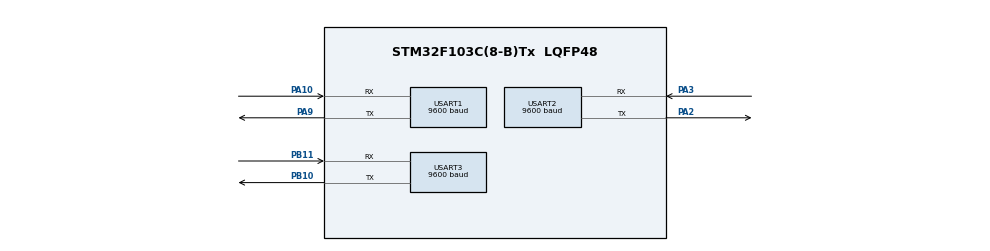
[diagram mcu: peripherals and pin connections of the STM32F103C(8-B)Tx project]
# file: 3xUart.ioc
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Mcu.Family=STM32F1
Mcu.Name=STM32F103C(8-B)Tx
Mcu.Package=LQFP48
NVIC.PriorityGroup=NVIC_PRIORITYGROUP_4
NVIC.USART1_IRQn=true\:0\:0\:false\:false\:true\:true
PA10.Mode=Asynchronous
PA10.Signal=USART1_RX
PA13.Mode=Serial_Wire
PA13.Signal=SYS_JTMS-SWDIO
PA14.Mode=Serial_Wire
PA14.Signal=SYS_JTCK-SWCLK
PA2.Mode=Asynchronous
PA2.Signal=USART2_TX
PA3.Mode=Asynchronous
PA3.Signal=USART2_RX
PA9.Mode=Asynchronous
PA9.Signal=USART1_TX
PB10.Mode=Asynchronous
PB10.Signal=USART3_TX
PB11.Mode=Asynchronous
PB11.Signal=USART3_RX
ProjectManager.HeapSize=0x200
ProjectManager.StackSize=0x400
ProjectManager.TargetToolchain=MDK-ARM V5
RCC.APB1Freq_Value=8000000
RCC.APB2Freq_Value=8000000
USART1.BaudRate=9600
USART1.VirtualMode=VM_ASYNC
USART2.BaudRate=9600
USART2.VirtualMode=VM_ASYNC
USART3.BaudRate=9600
USART3.VirtualMode=VM_ASYNC
board=3xUart

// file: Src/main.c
/**
  ******************************************************************************
  * File Name          : main.c
  * Description        : Main program body
  ******************************************************************************
  *
  * COPYRIGHT(c) 2017 STMicroelectronics
  *
  * Redistribution and use in source and binary forms, with or without modification,
  * are permitted provided that the following conditions are met:
  *   1. Redistributions of source code must retain the above copyright notice,
  *      this list of conditions and the following disclaimer.
  *   2. Redistributions in binary form must reproduce the above copyright notice,
  *      this list of conditions and the following disclaimer in the documentation
  *      and/or other materials provided with the distribution.
  *   3. Neither the name of STMicroelectronics nor the names of its contributors
  *      may be used to endorse or promote products derived from this software
  *      without specific prior written permission.
  *
  * THIS SOFTWARE IS PROVIDED BY THE COPYRIGHT HOLDERS AND CONTRIBUTORS "AS IS"
  * AND ANY EXPRESS OR IMPLIED WARRANTIES, INCLUDING, BUT NOT LIMITED TO, THE
  * IMPLIED WARRANTIES OF MERCHANTABILITY AND FITNESS FOR A PARTICULAR PURPOSE ARE
  * DISCLAIMED. IN NO EVENT SHALL THE COPYRIGHT HOLDER OR CONTRIBUTORS BE LIABLE
  * FOR ANY DIRECT, INDIRECT, INCIDENTAL, SPECIAL, EXEMPLARY, OR CONSEQUENTIAL
  * DAMAGES (INCLUDING, BUT NOT LIMITED TO, PROCUREMENT OF SUBSTITUTE GOODS OR
  * SERVICES; LOSS OF USE, DATA, OR PROFITS; OR BUSINESS INTERRUPTION) HOWEVER
  * CAUSED AND ON ANY THEORY OF LIABILITY, WHETHER IN CONTRACT, STRICT LIABILITY,
  * OR TORT (INCLUDING NEGLIGENCE OR OTHERWISE) ARISING IN ANY WAY OUT OF THE USE
  * OF THIS SOFTWARE, EVEN IF ADVISED OF THE POSSIBILITY OF SUCH DAMAGE.
  *
  ******************************************************************************
  */
#include "main.h"
#include "stm32f1xx_hal.h"
#include "cobs.h"

/* USER CODE BEGIN Includes */
 uint8_t buffer[10];
 uint8_t buffer2[5];
 uint8_t buffer3[5];
  static uint8_t tmp_mass[5];

 int dr_count, dr_count_saved, dr_count2, dr_count_saved2, dr_count3, dr_count_saved3;
 int check_uart, check_uart2, check_uart3;
 int j=0;
 volatile int saved_number;
 int uart_number;
 int multiplayer=1;
 int ch=1;
 float L_vel_left = 0,					// актуальная v левого колеса
			L_vel_right = 0,
			L_vel_left_des = 0,				// желаемая v левого колеса
			L_vel_right_des = 0,
			tmp,											// еще буфер
			W_vel = 0,
			x_pos = 0,
			y_pos = 0,
			angle_left = 0,
			angle_right = 0,
			path_of_left = 0, 				// одометр левого колеса
			path_of_right = 0,
			R_wheel = 0.05; // например

 uint8_t transmitBuffer[1];
 uint8_t recieved_word=0;
/* USER CODE END Includes */

UART_HandleTypeDef huart1;
UART_HandleTypeDef huart2;
UART_HandleTypeDef huart3;

/* USER CODE BEGIN PV */
/* Private variables ---------------------------------------------------------*/

/* USER CODE END PV */

void SystemClock_Config(void);
void Error_Handler(void);
static void MX_GPIO_Init(void);
static void MX_USART1_UART_Init(void);
static void MX_USART2_UART_Init(void);
static void MX_USART3_UART_Init(void);
//float ODOMETER(float);
//float PATH_TO_COORDINATES(int, float, float);

/* USER CODE BEGIN PFP */
/* Private function prototypes -----------------------------------------------*/
void send_to_uart(uint8_t data) {						// USART 1 к Rpi, USART 2 3 - драйвера, STM32F103 to rule them all

while(!(USART1->SR & USART_SR_TC));

USART1->DR=data; //UART

}
/* USER CODE END PFP */

/* USER CODE BEGIN 0 */

	uint8_t sp1 = 160;
    uint8_t sp1_2 = 115;
	uint8_t sp2 = 1;
	uint8_t u_buf1[1];
	uint8_t u_buf2[1];
 int test_num=0;
 int count=0;
/* USER CODE END 0 */

int main(void)
{

  /* USER CODE BEGIN 1 */
    u_buf1[0] = 0x30;
    u_buf2[0] = 0x30;
  /* USER CODE END 1 */

  /* MCU Configuration----------------------------------------------------------*/

  /* Reset of all peripherals, Initializes the Flash interface and the Systick. */
  HAL_Init();

  /* Configure the system clock */
  SystemClock_Config();

  /* Initialize all configured peripherals */
  MX_GPIO_Init();
  MX_USART1_UART_Init();
  MX_USART2_UART_Init();
  MX_USART3_UART_Init();

  /* USER CODE BEGIN 2 */
	__HAL_UART_ENABLE_IT(&huart1, UART_IT_RXNE);  // Включаю прерывания по приему данных в дата регистр
  __HAL_UART_ENABLE_IT(&huart2, UART_IT_RXNE);
  __HAL_UART_ENABLE_IT(&huart3, UART_IT_RXNE);

/*	for (unsigned char i = 0; i < 32; i++)
  {
    transmitBuffer[i] = i + 1;
  }*/

  /* USER CODE END 2 */

  /* Infinite loop */
  /* USER CODE BEGIN WHILE */
  while (1)
  {
		if (check_uart==1)  // проверяю флаг который меняется в stm32xx_it.c в USART1_IRQHandler (начиная с 195 строки)
		{
			for(j=0;j<dr_count_saved;j++) //dr_count переменная, значение которой я беру из stm32xx_it.c в USART1_IRQHandler
			{
				if (((buffer[j] != 0)&&(buffer[j] != 13)&&(buffer[j]>=48)&&(buffer[j]<=57))||(buffer[j]==65))
				{
					recieved_word=buffer[j]; // берем нужное нам значение
				}
/*				if ((buffer[j] != 0)&&(buffer[j] != 13))
        {
					uart_number=uart_number+multiplayer*(buffer[j]-48);  // если мы принимаем цифру
					multiplayer=multiplayer*10;
				*/

			}
			 multiplayer=1;
			 check_uart=0;
			// saved_number=uart_number;  // для цифры
			// uart_number=0;
			 USART1->DR=0;
			 for(j=0;j<9;j++) {buffer[j]=0;}

			 if (recieved_word!=0) // когда мы подключились к bluetooth модулю
			 {
				 transmitBuffer[0]=recieved_word;
				 switch (recieved_word)
				 {
				 case 0x31:
					u_buf1[0] = sp1;
					u_buf2[0] = ((uint8_t)((double)sp1)*0.91);
					break;
				 case 0x32:
					u_buf1[0] = 1;
					u_buf2[0] = 1;
					break;
				 case 0x34:
					u_buf1[0] = sp1*0.85;
					u_buf2[0] = ((uint8_t)((double)sp1)*0.91);
					break;
				 case 0x33:
					u_buf1[0] = sp1;
					u_buf2[0] = sp1*0.91*0.85;
					break;
				 case 0x37:
					 sp1 = 200;
					 break;
				 case 0x38:
					 sp1 = 180;
					 break;
				 case 0x39:
					 sp1 = 160;
					 break;
         case 'L':																	// прием линейной v тележки
					memcpy(&L_vel_left_des, &buffer[0], 4);
					memcpy(&L_vel_right_des, &buffer[0], 4);
					case 'W':
					memcpy(&tmp, &buffer[0], 4);							// прием угловой v тележки
					L_vel_left_des += tmp;
					L_vel_right_des -= tmp;
					//x_pos = PATH_TO_COORDINATES(1, path_of_left, path_of_right);		// на будущее
					//y_pos = PATH_TO_COORDINATES(2, path_of_left, path_of_right);
					//memcpy(&u_buf1[0], &x_pos, 4);
					//memcpy(&u_buf2[0], &y_pos, 4);
                }

				 //HAL_UART_Transmit_IT(&huart2, transmitBuffer ,1); //отправляем данные по 2 уарту
				 HAL_UART_Transmit(&huart2, u_buf1, 1, 100); //отправляем данные по 2 уарту
				 HAL_UART_Transmit(&huart3, u_buf2, 1, 100); //отправляем данные по 3 уарту
				 HAL_Delay(100);  // отправка 10 раз в секунду
			}

  }
  /* USER CODE END WHILE */

        // }
  /* USER CODE BEGIN 3 */
				if (check_uart2==1)  // проверяю флаг который меняется в stm32xx_it.c в USART1_IRQHandler (начиная с 195 строки)
		{
			cobs_decode(buffer2, 6, tmp_mass);
			memcpy(&tmp, &tmp_mass[1], 4);
			if (tmp+angle_left >= 360) angle_left -= 360;
			path_of_left = path_of_left + (tmp - angle_left)*R_wheel;
			angle_left = tmp;
			 check_uart2=0;
						 USART2->DR=0;
			 for(j=0;j<6;j++) {buffer2[j]=0;}
  }

  }

		if (check_uart3==1)  // проверяю флаг который меняется в stm32xx_it.c в USART1_IRQHandler (начиная с 195 строки)
		{
			cobs_decode(buffer3, 6, tmp_mass);
			memcpy(&tmp, &tmp_mass[1], 4);
			if (tmp+angle_right >= 360) angle_right -= 360;
			path_of_right = path_of_right + (tmp - angle_right)*R_wheel;
			angle_right = tmp;
			 check_uart3=0;
						 USART3->DR=0;
			 for(j=0;j<6;j++) {buffer3[j]=0;}
  }

}
  /* USER CODE END 3 */

/** System Clock Configuration
*/
void SystemClock_Config(void)
{

  RCC_OscInitTypeDef RCC_OscInitStruct;
  RCC_ClkInitTypeDef RCC_ClkInitStruct;

    /**Initializes the CPU, AHB and APB busses clocks
    */
  RCC_OscInitStruct.OscillatorType = RCC_OSCILLATORTYPE_HSI;
  RCC_OscInitStruct.HSIState = RCC_HSI_ON;
  RCC_OscInitStruct.HSICalibrationValue = 16;
  RCC_OscInitStruct.PLL.PLLState = RCC_PLL_NONE;
  if (HAL_RCC_OscConfig(&RCC_OscInitStruct) != HAL_OK)
  {
    Error_Handler();
  }

    /**Initializes the CPU, AHB and APB busses clocks
    */
  RCC_ClkInitStruct.ClockType = RCC_CLOCKTYPE_HCLK|RCC_CLOCKTYPE_SYSCLK
                              |RCC_CLOCKTYPE_PCLK1|RCC_CLOCKTYPE_PCLK2;
  RCC_ClkInitStruct.SYSCLKSource = RCC_SYSCLKSOURCE_HSI;
  RCC_ClkInitStruct.AHBCLKDivider = RCC_SYSCLK_DIV1;
  RCC_ClkInitStruct.APB1CLKDivider = RCC_HCLK_DIV1;
  RCC_ClkInitStruct.APB2CLKDivider = RCC_HCLK_DIV1;

  if (HAL_RCC_ClockConfig(&RCC_ClkInitStruct, FLASH_LATENCY_0) != HAL_OK)
  {
    Error_Handler();
  }

    /**Configure the Systick interrupt time
    */
  HAL_SYSTICK_Config(HAL_RCC_GetHCLKFreq()/1000);

    /**Configure the Systick
    */
  HAL_SYSTICK_CLKSourceConfig(SYSTICK_CLKSOURCE_HCLK);

  /* SysTick_IRQn interrupt configuration */
  HAL_NVIC_SetPriority(SysTick_IRQn, 0, 0);
}

/* USART1 init function */
static void MX_USART1_UART_Init(void)
{

  huart1.Instance = USART1;
  huart1.Init.BaudRate = 9600;
  huart1.Init.WordLength = UART_WORDLENGTH_8B;
  huart1.Init.StopBits = UART_STOPBITS_1;
  huart1.Init.Parity = UART_PARITY_NONE;
  huart1.Init.Mode = UART_MODE_TX_RX;
  huart1.Init.HwFlowCtl = UART_HWCONTROL_NONE;
  huart1.Init.OverSampling = UART_OVERSAMPLING_16;
  if (HAL_UART_Init(&huart1) != HAL_OK)
  {
    Error_Handler();
  }

}

/* USART2 init function */
static void MX_USART2_UART_Init(void)
{

  huart2.Instance = USART2;
  huart2.Init.BaudRate = 9600;
  huart2.Init.WordLength = UART_WORDLENGTH_8B;
  huart2.Init.StopBits = UART_STOPBITS_1;
  huart2.Init.Parity = UART_PARITY_NONE;
  huart2.Init.Mode = UART_MODE_TX_RX;
  huart2.Init.HwFlowCtl = UART_HWCONTROL_NONE;
  huart2.Init.OverSampling = UART_OVERSAMPLING_16;
  if (HAL_UART_Init(&huart2) != HAL_OK)
  {
    Error_Handler();
  }

}

/* USART3 init function */
static void MX_USART3_UART_Init(void)
{

  huart3.Instance = USART3;
  huart3.Init.BaudRate = 9600;
  huart3.Init.WordLength = UART_WORDLENGTH_8B;
  huart3.Init.StopBits = UART_STOPBITS_1;
  huart3.Init.Parity = UART_PARITY_NONE;
  huart3.Init.Mode = UART_MODE_TX_RX;
  huart3.Init.HwFlowCtl = UART_HWCONTROL_NONE;
  huart3.Init.OverSampling = UART_OVERSAMPLING_16;
  if (HAL_UART_Init(&huart3) != HAL_OK)
  {
    Error_Handler();
  }

}

/** Configure pins as
        * Analog
        * Input
        * Output
        * EVENT_OUT
        * EXTI
*/
static void MX_GPIO_Init(void)
{

  /* GPIO Ports Clock Enable */
  __HAL_RCC_GPIOA_CLK_ENABLE();
  __HAL_RCC_GPIOB_CLK_ENABLE();

}

void Error_Handler(void)
{
  while(1)
  {
  }
}

/************************ (C) COPYRIGHT STMicroelectronics *****END OF FILE****/
